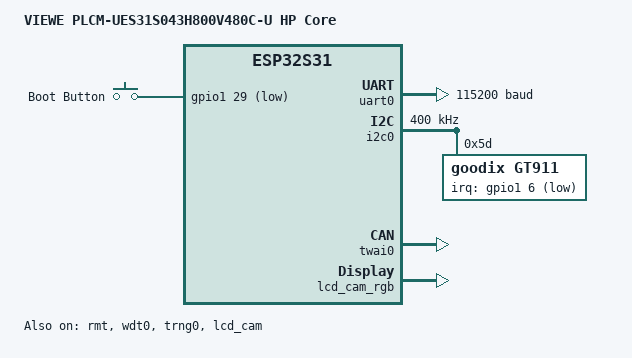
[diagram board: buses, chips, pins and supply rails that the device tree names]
/*
 * Copyright The Zephyr Project Contributors
 *
 * SPDX-License-Identifier: Apache-2.0
 */

/dts-v1/;

#include <espressif/esp32s31/esp32s31.dtsi>
#include "ues31s043h800v480c_u_hpcore-pinctrl.dtsi"
#include <zephyr/dt-bindings/display/panel.h>
#include <zephyr/dt-bindings/input/input-event-codes.h>
#include <zephyr/dt-bindings/led/led.h>
#include <espressif/partitions_0x2000_default_16M.dtsi>

/ {
	compatible = "viewe,ues31s043h800v480c-u", "espressif,esp32s31";
	model = "VIEWE PLCM-UES31S043H800V480C-U HP Core";

	chosen {
		zephyr,sram = &sramhp;
		zephyr,console = &uart0;
		zephyr,shell-uart = &uart0;
		zephyr,flash = &flash0;
		zephyr,code-partition = &slot0_partition;
		zephyr,canbus = &twai0;
		zephyr,display = &lcd_cam_rgb;
		zephyr,touch = &gt911;
	};

	aliases {
		sw0 = &boot_button;
		led-strip = &led_strip;
		watchdog0 = &wdt0;
	};

	lvgl_pointer {
		compatible = "zephyr,lvgl-pointer-input";
		input = <&gt911>;
	};

	led_strip: ws2812 {
		compatible = "worldsemi,ws2812-pulse-io";
		pulse-ios = <&rmt 0>;
		chain-length = <1>;
		color-mapping = <LED_COLOR_ID_GREEN
				 LED_COLOR_ID_RED
				 LED_COLOR_ID_BLUE>;
		reset-delay = <300>;
	};

	gpio_keys {
		compatible = "gpio-keys";

		boot_button: button {
			label = "Boot Button";
			gpios = <&gpio1 29 (GPIO_PULL_UP | GPIO_ACTIVE_LOW)>;
			zephyr,code = <INPUT_KEY_0>;
		};
	};
};

&flash0 {
	reg = <0x0 DT_SIZE_M(16)>;
	ranges = <0x0 0x0 DT_SIZE_M(16)>;
};

&psram0 {
	size = <DT_SIZE_M(16)>;
};

&uart0 {
	current-speed = <115200>;
	pinctrl-0 = <&uart0_default>;
	pinctrl-names = "default";
	status = "okay";
};

&i2c0 {
	clock-frequency = <I2C_BITRATE_FAST>;
	pinctrl-0 = <&i2c0_default>;
	pinctrl-names = "default";
	status = "okay";

	gt911: gt911@5d {
		compatible = "goodix,gt911";
		reg = <0x5d>;
		alt-addr = <0x14>;
		/* Its configuration has a falling edge on a touch. */
		irq-gpios = <&gpio1 6 GPIO_ACTIVE_LOW>;
	};
};

&gpio0 {
	status = "okay";
};

&gpio1 {
	status = "okay";
};

&rmt {
	pinctrl-0 = <&rmt_default>;
	pinctrl-names = "default";
	status = "okay";
};

&twai0 {
	pinctrl-0 = <&twai0_default>;
	pinctrl-names = "default";
	status = "okay";
};

&wdt0 {
	status = "okay";
};

&trng0 {
	status = "okay";
};

&lcd_cam {
	status = "okay";
};

&lcd_cam_rgb {
	status = "okay";
	pinctrl-0 = <&lcd_cam_rgb_default>;
	pinctrl-names = "default";
	width = <800>;
	height = <480>;
	pixel-format = <PANEL_PIXEL_FORMAT_RGB_565>;
	backlight-gpios = <&gpio1 7 GPIO_ACTIVE_HIGH>;

	/*
	 * From the APLL at 25.1 MHz the pixel clock's multiples near 2.35 GHz read the noise
	 * floor in 250 kHz, the floor between them 0 to 3 dB up. From PLL_F160M at 25 MHz they
	 * are lines 9 to 12 dB over it. The lines at the PSRAM clock's multiples (2250, 2500
	 * and 2750 MHz at 250 MHz) do not follow the pixel clock: they drop when the panel's DMA
	 * stops.
	 */
	clock-source = "apll";

	/*
	 * Vendor BSP 1.0.1, but for a back porch of 32 lines instead of 8: 1.18 ms of vertical
	 * blanking after the frame's start, which holds a radio burst of 16380 samples at 20 MS/s
	 * (esp32_lcd_rgb.h). About 58 Hz. The panel takes data on PCLK's falling edge.
	 */
	display-timings {
		compatible = "zephyr,panel-timing";
		clock-frequency = <25100000>;
		hsync-len = <4>;
		hback-porch = <8>;
		hfront-porch = <8>;
		vsync-len = <4>;
		vback-porch = <32>;
		vfront-porch = <8>;
		hsync-active = <0>;
		vsync-active = <0>;
		de-active = <1>;
		pixelclk-active = <1>;
	};
};

/* Internal LDO channel 1 powers the on-board PSRAM at 1.8 V. */
&ldo {
	status = "okay";

	ldo1@1 {
		regulator-init-microvolt = <1800000>;
		regulator-boot-on;
		regulator-always-on;
	};
};
